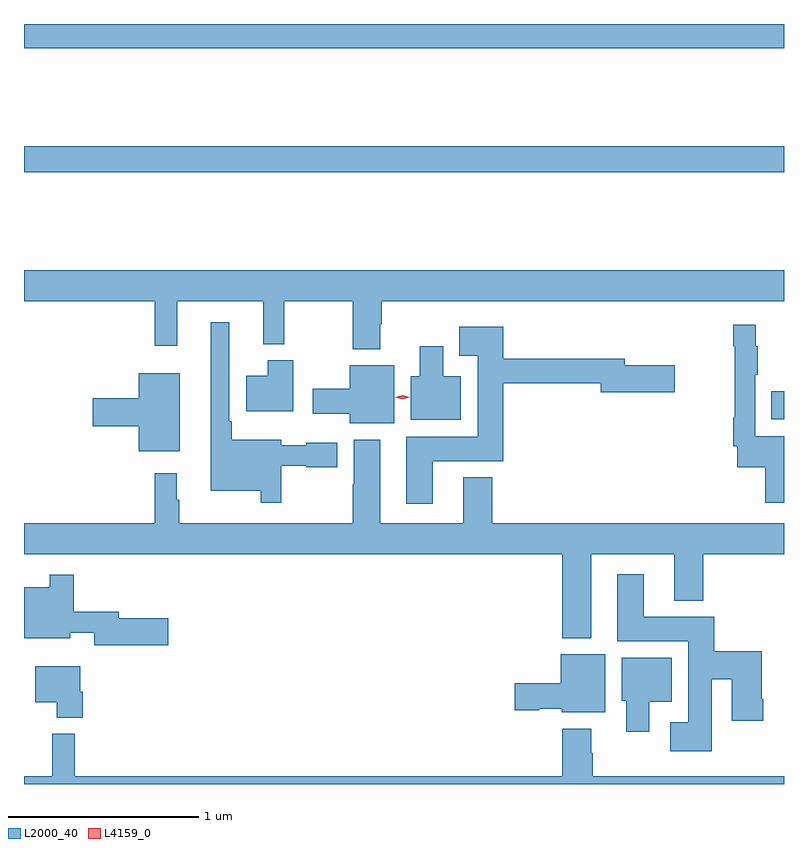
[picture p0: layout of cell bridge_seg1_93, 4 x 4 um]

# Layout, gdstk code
import gdstk
lib = gdstk.Library(unit=1e-6, precision=1e-09)
def R(c, l, rs):  # rectangles x0, y0, x1, y1
    for r in rs: c.add(gdstk.rectangle(r[:2], r[2:], *l))
def P(c, l, *ps):  # polygons
    for p in ps: c.add(gdstk.Polygon(p, *l))
L2000_40 = (2000, 40)
L4159_0 = (4159, 0)

bridge_seg1_93 = lib.new_cell('bridge_seg1_93')
R(bridge_seg1_93, L2000_40, [(303.439,576.419,303.505,576.567), (299.505,577.72,303.505,577.856), (299.505,578.372,303.505,578.5)])
P(bridge_seg1_93, L2000_40, [(301.381,576.92),(301.389,576.92),(301.389,577.04),(303.505,577.04),(303.505,577.204),(299.505,577.204),(299.505,577.04),(300.193,577.04),(300.193,576.807),(300.311,576.807),(300.311,577.04),(300.764,577.04),(300.764,576.815),(300.874,576.815),(300.874,577.04),(301.234,577.04),(301.234,576.788),(301.381,576.788)],
  [(300.859,576.174),(300.99,576.174),(300.99,576.166),(301.153,576.166),(301.153,576.295),(300.99,576.295),(300.99,576.283),(300.859,576.283),(300.859,576.313),(300.598,576.313),(300.598,576.409),(300.585,576.409),(300.585,576.931),(300.488,576.931),(300.488,576.044),(300.75,576.044),(300.75,575.979),(300.859,575.979)],
  [(303.505,576.331),(303.354,576.331),(303.354,576.655),(303.367,576.655),(303.367,576.803),(303.356,576.803),(303.356,576.916),(303.238,576.916),(303.238,576.803),(303.246,576.803),(303.246,576.427),(303.238,576.427),(303.238,576.277),(303.258,576.277),(303.258,576.166),(303.407,576.166),(303.407,575.979),(303.505,575.979)],
  [(301.657,576.2),(302.027,576.2),(302.027,576.61),(302.54,576.61),(302.54,576.563),(302.929,576.563),(302.929,576.705),(302.668,576.705),(302.668,576.739),(302.027,576.739),(302.027,576.907),(301.797,576.907),(301.797,576.755),(301.892,576.755),(301.892,576.328),(301.517,576.328),(301.517,575.976),(301.657,575.976)],
  [(301.804,576.646),(301.711,576.646),(301.711,576.805),(301.589,576.805),(301.589,576.646),(301.541,576.646),(301.541,576.416),(301.804,576.416)],
  [(300.922,576.73),(300.788,576.73),(300.788,576.649),(300.674,576.649),(300.674,576.461),(300.922,576.461)],
  [(301.453,576.703),(301.22,576.703),(301.22,576.579),(301.026,576.579),(301.026,576.449),(301.22,576.449),(301.22,576.398),(301.453,576.398)],
  [(300.325,576.661),(300.11,576.661),(300.11,576.53),(299.868,576.53),(299.868,576.383),(300.11,576.383),(300.11,576.251),(300.325,576.251)],
  [(302.491,575.708),(302.927,575.708),(302.927,575.465),(303.08,575.465),(303.08,575.708),(303.505,575.708),(303.505,575.872),(301.97,575.872),(301.97,576.115),(301.817,576.115),(301.817,575.872),(301.381,575.872),(301.381,576.313),(301.241,576.313),(301.241,576.077),(301.234,576.077),(301.234,575.872),(300.322,575.872),(300.322,575.996),(300.31,575.996),(300.31,576.136),(300.193,576.136),(300.193,575.872),(299.505,575.872),(299.505,575.708),(302.339,575.708),(302.339,575.267),(302.491,575.267)],
  [(303.124,575.051),(303.23,575.051),(303.23,574.833),(303.396,574.833),(303.396,574.945),(303.388,574.945),(303.388,575.198),(303.137,575.198),(303.137,575.38),(302.767,575.38),(302.767,575.605),(302.627,575.605),(302.627,575.252),(303.002,575.252),(303.002,574.825),(302.907,574.825),(302.907,574.673),(303.124,574.673)],
  [(300.265,575.373),(300.004,575.373),(300.004,575.407),(299.768,575.407),(299.768,575.602),(299.64,575.602),(299.64,575.536),(299.505,575.536),(299.505,575.267),(299.749,575.267),(299.749,575.297),(299.876,575.297),(299.876,575.231),(300.265,575.231)],
  [(302.563,575.182),(302.33,575.182),(302.33,575.03),(302.088,575.03),(302.088,574.888),(302.217,574.888),(302.217,574.895),(302.334,574.895),(302.334,574.877),(302.563,574.877)],
  [(302.797,574.934),(302.914,574.934),(302.914,575.164),(302.651,575.164),(302.651,574.938),(302.675,574.938),(302.675,574.776),(302.797,574.776)],
  [(299.813,574.986),(299.8,574.986),(299.8,575.119),(299.564,575.119),(299.564,574.931),(299.678,574.931),(299.678,574.85),(299.813,574.85)],
  [(303.505,574.54),(302.499,574.54),(302.499,574.661),(302.491,574.661),(302.491,574.792),(302.339,574.792),(302.339,574.54),(299.771,574.54),(299.771,574.765),(299.654,574.765),(299.654,574.54),(299.505,574.54),(299.505,574.5),(303.505,574.5)])
P(bridge_seg1_93, L4159_0, [(301.497,576.526),(301.459,576.535),(301.459,576.536),(301.459,576.536),(301.497,576.546),(301.535,576.536),(301.535,576.536),(301.535,576.535)])

lib.write_gds('bridge_seg1_93.gds')
